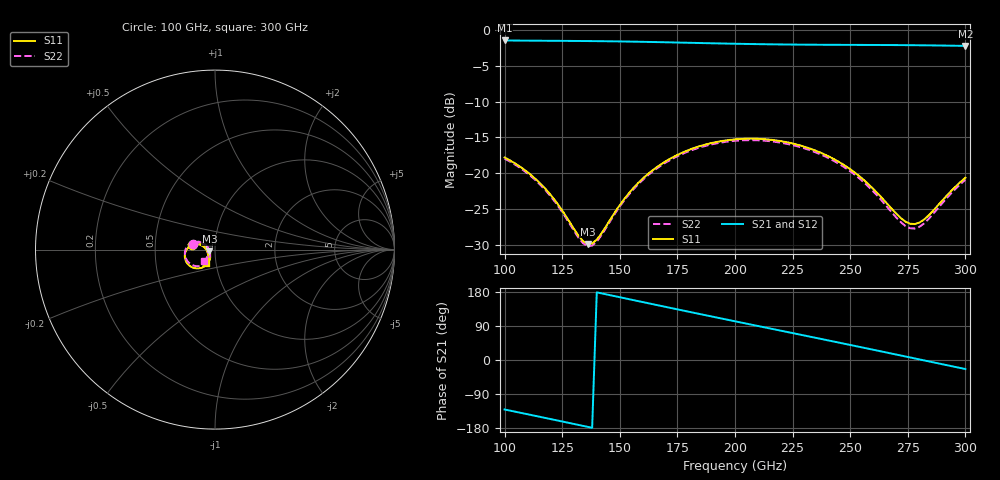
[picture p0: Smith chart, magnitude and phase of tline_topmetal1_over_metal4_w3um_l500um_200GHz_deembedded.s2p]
! Created with skrf 2.0.1 (http://scikit-rf.org).
# GHz S DB R 50.0
!freq dBS11 angS11 dBS21 angS21 dBS12 angS12 dBS22 angS22
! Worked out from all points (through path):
!   101 points, 100 GHz to 300 GHz, reference 50 ohm
!   highest |S21| = -1.46 dB at 100 GHz (marker M1); lowest = -2.2 dB at 300 GHz (marker M2)
!   group delay of S21, straight-line fit = 3.51 ps
!   lowest |S11| = -29.9 dB at 136 GHz (marker M3), VSWR 1.07, Z = 47 - j0.813 ohm
!   |S11| at or under -10 dB: start of sweep to end of sweep
!   |S22| runs from -30.2 to -15.4 dB; largest |S21 - S12| = 4.5e-16
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100  -17.79 169.6  -1.46 -130.6  -1.46 -130.6  -17.96 166.0
110  -19.86 161.1  -1.48 -143.2  -1.48 -143.2  -20.04 157.1
118  -22.27 157.3  -1.50 -153.4  -1.50 -153.4  -22.47 153.0
134  -29.46 -175.2  -1.54 -173.8  -1.54 -173.8  -29.76 -179.8
136  -29.87 -164.4  -1.54 -176.4  -1.54 -176.4  -30.18 -168.9
140  -29.27 -142.6  -1.55 178.5  -1.55 178.5  -29.54 -146.9
152  -23.56 -117.5  -1.60 163.1  -1.60 163.1  -23.75 -122.4
160  -20.73 -118.6  -1.65 152.8  -1.65 152.8  -20.91 -123.9
168  -18.72 -123.6  -1.70 142.6  -1.70 142.6  -18.90 -129.3
184  -16.28 -137.8  -1.81 122.2  -1.81 122.2  -16.47 -144.1
200  -15.27 -153.6  -1.92 102.1  -1.92 102.1  -15.47 -160.6
216  -15.34 -169.3  -2.00 82.2  -2.00 82.2  -15.55 -177.0
224  -15.77 -176.8  -2.03 72.3  -2.03 72.3  -15.99 175.1
234  -16.71 174.4  -2.05 59.8  -2.05 59.8  -16.95 165.9
244  -18.21 167.0  -2.07 47.3  -2.07 47.3  -18.47 158.0
252  -19.90 163.1  -2.08 37.2  -2.08 37.2  -20.20 153.6
260  -22.16 162.8  -2.09 27.1  -2.09 27.1  -22.53 152.9
268  -24.95 170.8  -2.10 16.9  -2.10 16.9  -25.44 160.6
274  -26.75 -173.4  -2.11 9.3  -2.11 9.3  -27.37 176.9
280  -26.89 -151.2  -2.13 1.6  -2.13 1.6  -27.48 -159.7
290  -23.79 -128.1  -2.17 -11.2  -2.17 -11.2  -24.16 -136.5
300  -20.62 -124.2  -2.22 -23.9  -2.22 -23.9  -20.91 -133.4
